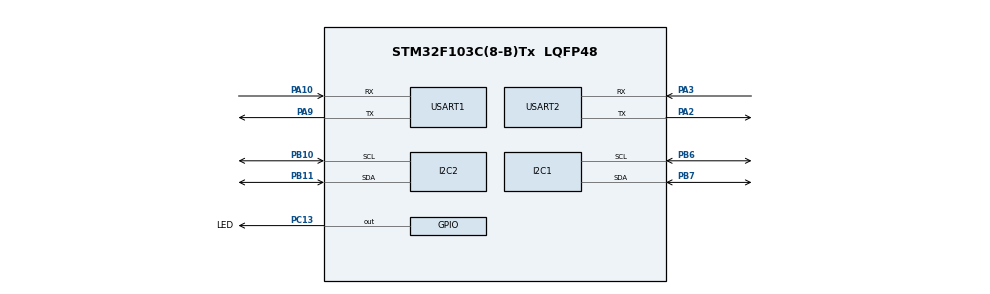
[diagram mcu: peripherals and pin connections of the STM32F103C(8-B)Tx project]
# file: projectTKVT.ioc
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FREERTOS.Tasks01=defaultTask,0,128,StartDefaultTask,Default,NULL,Dynamic,NULL,NULL
FREERTOS.configUSE_NEWLIB_REENTRANT=1
Mcu.Family=STM32F1
Mcu.Name=STM32F103C(8-B)Tx
Mcu.Package=LQFP48
NVIC.PriorityGroup=NVIC_PRIORITYGROUP_4
NVIC.TIM1_UP_IRQn=true\:15\:0\:false\:false\:true\:false\:false\:true\:true
NVIC.TIM3_IRQn=true\:5\:0\:false\:false\:true\:true\:true\:true\:true
NVIC.TimeBase=TIM1_UP_IRQn
NVIC.TimeBaseIP=TIM1
PA10.Mode=Asynchronous
PA10.Signal=USART1_RX
PA13.Mode=Serial_Wire
PA13.Signal=SYS_JTMS-SWDIO
PA14.Mode=Serial_Wire
PA14.Signal=SYS_JTCK-SWCLK
PA2.Mode=Asynchronous
PA2.Signal=USART2_TX
PA3.Mode=Asynchronous
PA3.Signal=USART2_RX
PA9.Mode=Asynchronous
PA9.Signal=USART1_TX
PB10.Mode=I2C
PB10.Signal=I2C2_SCL
PB11.Mode=I2C
PB11.Signal=I2C2_SDA
PB6.Mode=I2C
PB6.Signal=I2C1_SCL
PB7.Mode=I2C
PB7.Signal=I2C1_SDA
PC13-TAMPER-RTC.GPIO_Label=LED
PC13-TAMPER-RTC.Signal=GPIO_Output
ProjectManager.HeapSize=0x200
ProjectManager.StackSize=0x400
ProjectManager.TargetToolchain=STM32CubeIDE
RCC.APB1Freq_Value=8000000
RCC.APB2Freq_Value=8000000
TIM3.AutoReloadPreload=TIM_AUTORELOAD_PRELOAD_ENABLE
TIM3.Period=999
TIM3.Prescaler=7
USART1.VirtualMode=VM_ASYNC
USART2.VirtualMode=VM_ASYNC
VP_FREERTOS_VS_CMSIS_V1.Mode=CMSIS_V1
VP_SYS_VS_tim1.Mode=TIM1
VP_TIM3_VS_ClockSourceINT.Mode=Internal
board=custom

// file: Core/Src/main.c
/* USER CODE BEGIN Header */
/**
 ******************************************************************************
 * @file           : main.c
 * @brief          : Main program body
 ******************************************************************************
 * @attention
 *
 * Copyright (c) 2025 STMicroelectronics.
 * All rights reserved.
 *
 * This software is licensed under terms that can be found in the LICENSE file
 * in the root directory of this software component.
 * If no LICENSE file comes with this software, it is provided AS-IS.
 *
 ******************************************************************************
 */
/* USER CODE END Header */
#include "main.h"
#include "cmsis_os.h"

/* USER CODE BEGIN Includes */
#include "myMain.h"
/* USER CODE END Includes */

I2C_HandleTypeDef hi2c1;
I2C_HandleTypeDef hi2c2;

TIM_HandleTypeDef htim3;

UART_HandleTypeDef huart1;
UART_HandleTypeDef huart2;

osThreadId defaultTaskHandle;

void SystemClock_Config(void);
static void MX_GPIO_Init(void);
static void MX_I2C1_Init(void);
static void MX_USART1_UART_Init(void);
static void MX_USART2_UART_Init(void);
static void MX_TIM3_Init(void);
static void MX_I2C2_Init(void);
void StartDefaultTask(void const * argument);

/* USER CODE BEGIN PFP */
uint64_t count = 0;
/* USER CODE END PFP */

/* USER CODE BEGIN 0 */
void HAL_TIM_PeriodElapsedCallback(TIM_HandleTypeDef *htim);

/* USER CODE END 0 */

int main(void)
{

	/* MCU Configuration--------------------------------------------------------*/

	/* Reset of all peripherals, Initializes the Flash interface and the Systick. */
	HAL_Init();

	/* Configure the system clock */
	SystemClock_Config();

	/* Initialize all configured peripherals */
	MX_GPIO_Init();
	MX_I2C1_Init();
	MX_USART1_UART_Init();
	MX_USART2_UART_Init();
	MX_TIM3_Init();
	MX_I2C2_Init();
	/* USER CODE BEGIN 2 */
	startAllTask();
	HAL_TIM_Base_Start_IT(&htim3);

	/* USER CODE END 2 */

	/* Create the thread(s) */
	/* definition and creation of defaultTask */

	/* USER CODE BEGIN RTOS_THREADS */
	if(xTaskCreate(startIMUTask, "IMU-Task", 256, NULL, 1, NULL) == pdPASS)
	{
		HAL_GPIO_TogglePin(LED_GPIO_Port, LED_Pin);
	}

	if ( xTaskCreate(startBMETask, "BME-Task", 256, NULL, 1, NULL) == pdPASS)
	{
		HAL_GPIO_TogglePin(LED_GPIO_Port, LED_Pin);
	}

	if(xTaskCreate(startGPSTask, "GPS-Task", 256, NULL, 1, NULL) == pdPASS)
	{
		HAL_GPIO_TogglePin(LED_GPIO_Port, LED_Pin);
	}

	if(xTaskCreate(startPM25Task, "PM25-Task", 256, NULL, 1, NULL) == pdPASS)
	{
		HAL_GPIO_TogglePin(LED_GPIO_Port, LED_Pin);
	}

	if(xTaskCreate(startLoraTask, "Lora-Task", 128, NULL, 1, NULL) == pdPASS)
	{
		HAL_GPIO_TogglePin(LED_GPIO_Port, LED_Pin);
	}
	if(xTaskCreate(startMICROTask, "Micro-Task", 128, NULL, 1, NULL) == pdPASS)
	{
		HAL_GPIO_TogglePin(LED_GPIO_Port, LED_Pin);
	}
	/* USER CODE END RTOS_THREADS */

	/* Start scheduler */
	osKernelStart();

	/* We should never get here as control is now taken by the scheduler */

	/* Infinite loop */
	while (1)
	{

	}
}

void SystemClock_Config(void)
{
	RCC_OscInitTypeDef RCC_OscInitStruct = {0};
	RCC_ClkInitTypeDef RCC_ClkInitStruct = {0};

	/** Initializes the RCC Oscillators according to the specified parameters
	 * in the RCC_OscInitTypeDef structure.
	 */
	RCC_OscInitStruct.OscillatorType = RCC_OSCILLATORTYPE_HSI;
	RCC_OscInitStruct.HSIState = RCC_HSI_ON;
	RCC_OscInitStruct.HSICalibrationValue = RCC_HSICALIBRATION_DEFAULT;
	RCC_OscInitStruct.PLL.PLLState = RCC_PLL_NONE;
	if (HAL_RCC_OscConfig(&RCC_OscInitStruct) != HAL_OK)
	{
		Error_Handler();
	}

	/** Initializes the CPU, AHB and APB buses clocks
	 */
	RCC_ClkInitStruct.ClockType = RCC_CLOCKTYPE_HCLK|RCC_CLOCKTYPE_SYSCLK
			|RCC_CLOCKTYPE_PCLK1|RCC_CLOCKTYPE_PCLK2;
	RCC_ClkInitStruct.SYSCLKSource = RCC_SYSCLKSOURCE_HSI;
	RCC_ClkInitStruct.AHBCLKDivider = RCC_SYSCLK_DIV1;
	RCC_ClkInitStruct.APB1CLKDivider = RCC_HCLK_DIV1;
	RCC_ClkInitStruct.APB2CLKDivider = RCC_HCLK_DIV1;

	if (HAL_RCC_ClockConfig(&RCC_ClkInitStruct, FLASH_LATENCY_0) != HAL_OK)
	{
		Error_Handler();
	}
}

static void MX_I2C1_Init(void)
{

	hi2c1.Instance = I2C1;
	hi2c1.Init.ClockSpeed = 100000;
	hi2c1.Init.DutyCycle = I2C_DUTYCYCLE_2;
	hi2c1.Init.OwnAddress1 = 0;
	hi2c1.Init.AddressingMode = I2C_ADDRESSINGMODE_7BIT;
	hi2c1.Init.DualAddressMode = I2C_DUALADDRESS_DISABLE;
	hi2c1.Init.OwnAddress2 = 0;
	hi2c1.Init.GeneralCallMode = I2C_GENERALCALL_DISABLE;
	hi2c1.Init.NoStretchMode = I2C_NOSTRETCH_DISABLE;
	if (HAL_I2C_Init(&hi2c1) != HAL_OK)
	{
		Error_Handler();
	}

}

static void MX_I2C2_Init(void)
{

	hi2c2.Instance = I2C2;
	hi2c2.Init.ClockSpeed = 100000;
	hi2c2.Init.DutyCycle = I2C_DUTYCYCLE_2;
	hi2c2.Init.OwnAddress1 = 0;
	hi2c2.Init.AddressingMode = I2C_ADDRESSINGMODE_7BIT;
	hi2c2.Init.DualAddressMode = I2C_DUALADDRESS_DISABLE;
	hi2c2.Init.OwnAddress2 = 0;
	hi2c2.Init.GeneralCallMode = I2C_GENERALCALL_DISABLE;
	hi2c2.Init.NoStretchMode = I2C_NOSTRETCH_DISABLE;
	if (HAL_I2C_Init(&hi2c2) != HAL_OK)
	{
		Error_Handler();
	}

}

static void MX_TIM3_Init(void)
{

	TIM_ClockConfigTypeDef sClockSourceConfig = {0};
	TIM_MasterConfigTypeDef sMasterConfig = {0};

	htim3.Instance = TIM3;
	htim3.Init.Prescaler = 7;
	htim3.Init.CounterMode = TIM_COUNTERMODE_UP;
	htim3.Init.Period = 999;
	htim3.Init.ClockDivision = TIM_CLOCKDIVISION_DIV1;
	htim3.Init.AutoReloadPreload = TIM_AUTORELOAD_PRELOAD_ENABLE;
	if (HAL_TIM_Base_Init(&htim3) != HAL_OK)
	{
		Error_Handler();
	}
	sClockSourceConfig.ClockSource = TIM_CLOCKSOURCE_INTERNAL;
	if (HAL_TIM_ConfigClockSource(&htim3, &sClockSourceConfig) != HAL_OK)
	{
		Error_Handler();
	}
	sMasterConfig.MasterOutputTrigger = TIM_TRGO_RESET;
	sMasterConfig.MasterSlaveMode = TIM_MASTERSLAVEMODE_DISABLE;
	if (HAL_TIMEx_MasterConfigSynchronization(&htim3, &sMasterConfig) != HAL_OK)
	{
		Error_Handler();
	}

}

static void MX_USART1_UART_Init(void)
{

	huart1.Instance = USART1;
	huart1.Init.BaudRate = 115200;
	huart1.Init.WordLength = UART_WORDLENGTH_8B;
	huart1.Init.StopBits = UART_STOPBITS_1;
	huart1.Init.Parity = UART_PARITY_NONE;
	huart1.Init.Mode = UART_MODE_TX_RX;
	huart1.Init.HwFlowCtl = UART_HWCONTROL_NONE;
	huart1.Init.OverSampling = UART_OVERSAMPLING_16;
	if (HAL_UART_Init(&huart1) != HAL_OK)
	{
		Error_Handler();
	}

}

static void MX_USART2_UART_Init(void)
{

	huart2.Instance = USART2;
	huart2.Init.BaudRate = 115200;
	huart2.Init.WordLength = UART_WORDLENGTH_8B;
	huart2.Init.StopBits = UART_STOPBITS_1;
	huart2.Init.Parity = UART_PARITY_NONE;
	huart2.Init.Mode = UART_MODE_TX_RX;
	huart2.Init.HwFlowCtl = UART_HWCONTROL_NONE;
	huart2.Init.OverSampling = UART_OVERSAMPLING_16;
	if (HAL_UART_Init(&huart2) != HAL_OK)
	{
		Error_Handler();
	}

}

static void MX_GPIO_Init(void)
{
	GPIO_InitTypeDef GPIO_InitStruct = {0};

	/* GPIO Ports Clock Enable */
	__HAL_RCC_GPIOC_CLK_ENABLE();
	__HAL_RCC_GPIOA_CLK_ENABLE();
	__HAL_RCC_GPIOB_CLK_ENABLE();

	/*Configure GPIO pin Output Level */
	HAL_GPIO_WritePin(LED_GPIO_Port, LED_Pin, GPIO_PIN_RESET);

	/*Configure GPIO pin : LED_Pin */
	GPIO_InitStruct.Pin = LED_Pin;
	GPIO_InitStruct.Mode = GPIO_MODE_OUTPUT_PP;
	GPIO_InitStruct.Pull = GPIO_NOPULL;
	GPIO_InitStruct.Speed = GPIO_SPEED_FREQ_LOW;
	HAL_GPIO_Init(LED_GPIO_Port, &GPIO_InitStruct);

}

/* USER CODE BEGIN 4 */
/* FUNCTION START TASK CODE BEGIN */
//void startIMUTask()
//{
//	IMUTask->startTask();
//}
//void startBMETask()
//{
//	BMETask->startTask();
//}
//void startGPSTask()
//{
//	GPSTask->startTask();
//}
//void startLoraTask()
//{
//	LoraTask->startTask();
//}
//void startPM25Task()
//{
//	PM25Task->startTask();
//}
//void startMICRTask()
//{
//	MicroSDTask->startTask();
//}
/* FUNCTION START TASK CODE END */
/* USER CODE END 4 */

void StartDefaultTask(void const * argument)
{
	for(;;)
	{
		osDelay(1);
	}
}

void HAL_TIM_PeriodElapsedCallback(TIM_HandleTypeDef *htim)
{
	if (htim->Instance == TIM1)
	{
		HAL_IncTick();
	}
	/* USER CODE BEGIN Callback 1 */
	if(htim->Instance == TIM3)
	{
		controlSemaphore();
	}
	/* USER CODE END Callback 1 */
}

void Error_Handler(void)
{
	__disable_irq();
	while (1)
	{
	}
}
